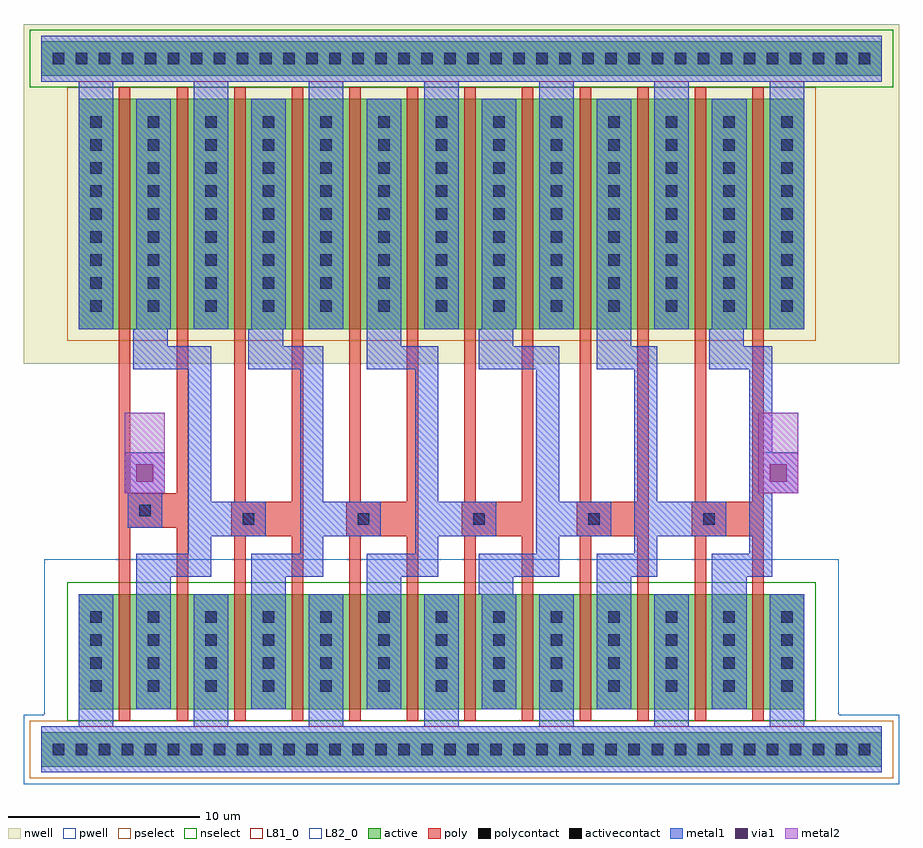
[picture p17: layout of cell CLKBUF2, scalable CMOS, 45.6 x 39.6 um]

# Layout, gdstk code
import gdstk
lib = gdstk.Library(unit=1e-6, precision=1e-09)
def R(c, l, rs):  # rectangles x0, y0, x1, y1
    for r in rs: c.add(gdstk.rectangle(r[:2], r[2:], *l))
def A(c, l, x, y, w, h, nx, ny, dx, dy):  # array of equal rectangles
    R(c, l, [(x+i*dx, y+j*dy, x+i*dx+w, y+j*dy+h) for i in range(nx) for j in range(ny)])
pwell = (41, 0)
nwell = (42, 0)
active = (43, 0)
pselect = (44, 0)
nselect = (45, 0)
poly = (46, 0)
polycontact = (47, 0)
activecontact = (48, 0)
metal1 = (49, 0)
via1 = (50, 0)
metal2 = (51, 0)
L81_0 = (81, 0)
L82_0 = (82, 0)

clkbuf2 = lib.new_cell('CLKBUF2')
R(clkbuf2, pwell, [(-1.8,-1.8,43.8,1.8), (-0.75,1.8,40.65,9.9)])
R(clkbuf2, nwell, [(-1.8,20.1,43.8,37.8)])
R(clkbuf2, active, [(-0.9,-0.9,42.9,0.9), (1.05,2.1,38.85,8.1), (1.05,21.9,38.85,33.9), (-0.9,35.1,42.9,36.9)])
R(clkbuf2, pselect, [(-1.5,-1.5,43.5,1.5), (0.45,21.3,39.45,34.5)])
R(clkbuf2, nselect, [(0.45,1.5,39.45,8.7), (-1.5,34.5,43.5,37.5)])
A(clkbuf2, poly, 9.15, 1.5, 0.6, 9.6, 10, 1, 3, 0)
A(clkbuf2, poly, 9, 11.1, 3.75, 1.8, 5, 1, 6, 0)
A(clkbuf2, poly, 9.15, 12.9, 0.6, 21.6, 10, 1, 3, 0)
R(clkbuf2, poly, [(3.15,1.5,3.75,11.55), (6.15,1.5,6.75,11.55), (3.15,11.55,6.75,13.35), (3.15,13.35,3.75,34.5), (6.15,13.35,6.75,34.5)])
A(clkbuf2, polycontact, 9.6, 11.7, 0.6, 0.6, 5, 1, 6, 0)
R(clkbuf2, polycontact, [(4.2,12.15,4.8,12.75)])
A(clkbuf2, activecontact, -0.3, -0.3, 0.6, 0.6, 36, 2, 1.2, 36)
A(clkbuf2, activecontact, 1.65, 3, 0.6, 0.6, 13, 4, 3, 1.2)
A(clkbuf2, activecontact, 1.65, 22.8, 0.6, 0.6, 13, 9, 3, 1.2)
A(clkbuf2, metal1, 1.05, 1.2, 1.8, 6.9, 7, 1, 6, 0)
A(clkbuf2, metal1, 4.05, 2.1, 1.8, 6.9, 3, 1, 6, 0)
A(clkbuf2, metal1, 9.9, 21, 1.8, 0.9, 3, 1, 12, 0)
A(clkbuf2, metal1, 1.05, 21.9, 1.8, 12.9, 7, 1, 6, 0)
A(clkbuf2, metal1, 10.05, 21.9, 1.8, 12, 3, 1, 12, 0)
R(clkbuf2, metal1, [(-0.9,-1.2,42.9,1.2), (22.05,2.1,23.85,8.1), (28.05,2.1,29.85,9), (34.05,2.1,35.85,9), (21.9,8.1,23.7,9), (4.05,9,7.95,10.2), (10.05,9,13.8,10.2), (16.05,9,19.8,10.2), (21.9,9,26.1,10.2), (28.05,9,31.2,10.2), (34.05,9,37.2,10.2), (6.75,10.2,7.95,11.1), (12.6,10.2,13.8,11.1), (18.6,10.2,19.8,11.1), (24.9,10.2,26.1,11.1), (30,10.2,31.2,11.1), (36,10.2,37.2,13.35), (6.75,11.1,10.8,12.9), (12.6,11.1,16.8,12.9), (18.6,11.1,22.8,12.9), (24.9,11.1,28.8,12.9), (30,11.1,34.8,12.9), (3.6,11.55,5.4,13.35), (6.75,12.9,7.95,19.8), (12.6,12.9,13.8,19.8), (18.6,12.9,19.8,19.8), (24.9,12.9,26.1,19.8), (30,12.9,31.2,19.8), (3.45,13.35,5.55,15.45), (36,13.35,38.55,15.45), (36,15.45,37.2,19.8), (3.9,19.8,7.95,21), (9.9,19.8,13.8,21), (16.05,19.8,19.8,21), (21.9,19.8,26.1,21), (28.05,19.8,31.2,21), (33.9,19.8,37.2,21), (3.9,21,5.7,21.9), (16.05,21,17.85,33.9), (28.05,21,29.85,33.9), (4.05,21.9,5.85,33.9), (-0.9,34.8,42.9,37.2)])
R(clkbuf2, via1, [(4.05,13.95,4.95,14.85), (37.05,13.95,37.95,14.85)])
R(clkbuf2, metal2, [(3.45,13.35,5.55,17.55), (36.45,13.35,38.55,17.55)])
R(clkbuf2, L81_0, [(-0.9,-1.2,42.9,1.2), (-0.9,34.8,42.9,37.2)])
R(clkbuf2, L82_0, [(3.45,15.45,5.55,17.55), (36.45,15.45,38.55,17.55)])

lib.write_gds('CLKBUF2.gds')
